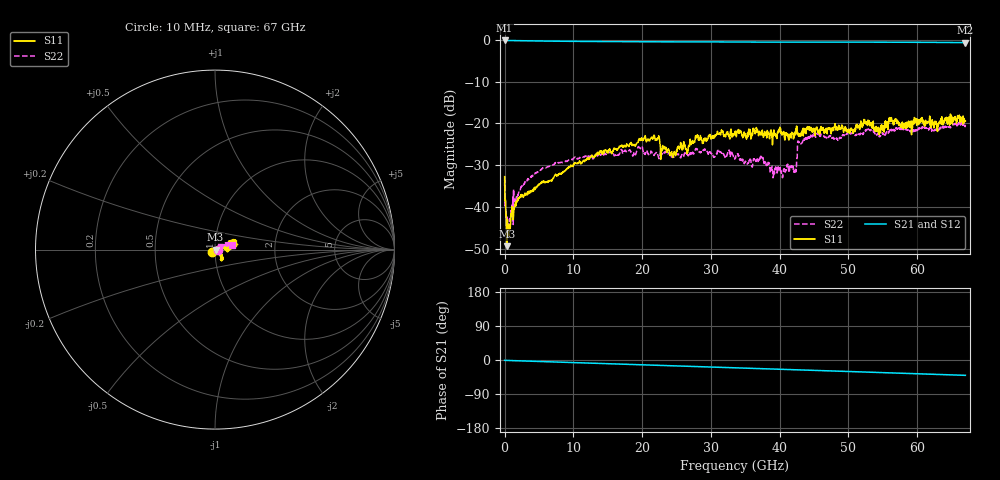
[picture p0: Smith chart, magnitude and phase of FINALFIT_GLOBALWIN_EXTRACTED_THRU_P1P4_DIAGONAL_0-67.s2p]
! Generated by Phase I extraction
# Hz S RI R 50
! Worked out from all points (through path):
!   1601 points, 10 MHz to 67 GHz, reference 50 ohm
!   highest |S21| = -0.10 dB at 10 MHz (marker M1); lowest = -0.6 dB at 67 GHz (marker M2)
!   group delay of S21, straight-line fit = 1.64 ps
!   lowest |S11| = -49.4 dB at 344.9 MHz (marker M3), VSWR 1.01, Z = 50.3 + j0.0101 ohm
!   |S11| at or under -10 dB: start of sweep to end of sweep
!   |S22| runs from -46.7 to -19.6 dB; largest |S21 - S12| = 0.01
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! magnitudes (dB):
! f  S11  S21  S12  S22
! 10 MHz  -32.8  -0.1  -0.1  -35.0
! 344.9 MHz  -49.4  -0.1  -0.1  -44.8
! 596.2 MHz  -46.8  -0.1  -0.1  -46.5
! 2.062 GHz  -37.8  -0.2  -0.2  -36.6
! 4.322 GHz  -35.8  -0.2  -0.2  -32.1
! 11.19 GHz  -29.5  -0.3  -0.3  -28.1
! 19.69 GHz  -24.1  -0.4  -0.4  -25.8
! 22.37 GHz  -23.4  -0.4  -0.4  -28.0
! 24.34 GHz  -27.4  -0.4  -0.4  -27.7
! 28.02 GHz  -22.8  -0.4  -0.4  -26.3
! 33.51 GHz  -22.3  -0.5  -0.5  -28.4
! 37.27 GHz  -22.8  -0.5  -0.5  -27.8
! 38.91 GHz  -23.5  -0.5  -0.5  -30.2
! 40.54 GHz  -22.5  -0.5  -0.5  -31.4
! 42.13 GHz  -22.3  -0.5  -0.5  -31.5
! 42.93 GHz  -22.5  -0.5  -0.5  -24.7
! 44.68 GHz  -22.0  -0.5  -0.5  -23.3
! 50.5 GHz  -21.4  -0.5  -0.5  -22.4
! 52.6 GHz  -20.2  -0.5  -0.5  -21.6
! 54.15 GHz  -21.8  -0.5  -0.5  -22.6
! 55.86 GHz  -19.5  -0.5  -0.5  -22.1
! 67 GHz  -19.4  -0.6  -0.6  -20.3
